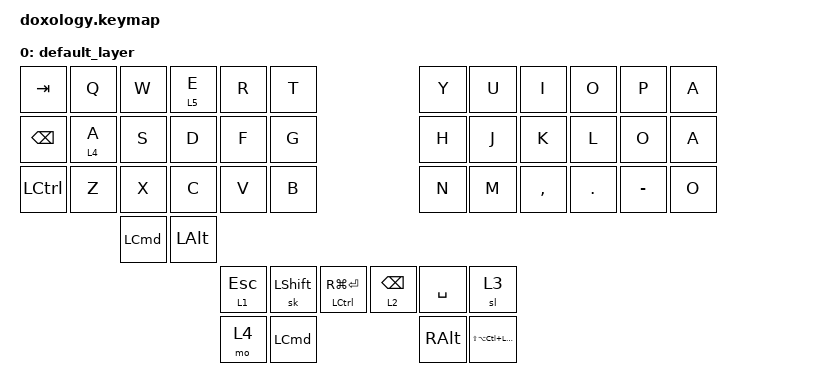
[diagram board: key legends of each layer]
/*
 * Copyright (c) 2020 The ZMK Contributors
 *
 * SPDX-License-Identifier: MIT
 */

#include <behaviors.dtsi>
#include <dt-bindings/zmk/keys.h>

/ {
    // TODO: use a custom behavior for connect layer. hold button to activate connect layer, tap to send keypress. use like `&mo_tap CONNECT END`
    // See the last example here: https://zmk.dev/docs/behaviors/hold-tap#example-use-cases
    // behaviors {
    // mo_tap: behavior_mo_tap {
    // compatible = "zmk,behavior-hold-tap";
    // #binding-cells = <2>;
    // flavor = "hold-preferred";
    // tapping-term-ms = <200>;
    // bindings = <&mo>, <&kp>;
    // };
    // };

    keymap {
        compatible = "zmk,keymap";

        default_layer {
            bindings = <
&kp TAB        &kp Q    &kp W             &lt 5 E       &kp R      &kp T                                                   &kp Y          &kp U                 &kp I      &kp O       &kp P      &kp A
&kp BACKSPACE  &lt 4 A  &kp S             &kp D         &kp F      &kp G                                                   &kp H          &kp J                 &kp K      &kp L       &kp O      &kp A
&kp LCTRL      &kp Z    &kp X             &kp C         &kp V      &kp B                                                   &kp N          &kp M                 &kp COMMA  &kp PERIOD  &kp MINUS  &kp O
                        &kp LEFT_COMMAND  &kp LEFT_ALT
                                                        &lt 1 ESC  &sk LEFT_SHIFT  &mt LCTRL RG(ENTER)    &lt 2 BACKSPACE  &kp SPACE      &sl 3
                                                        &mo 4      &kp LCMD                                                &kp RIGHT_ALT  &kp LS(LA(LC(LCMD)))
            >;
        };

    };
};
